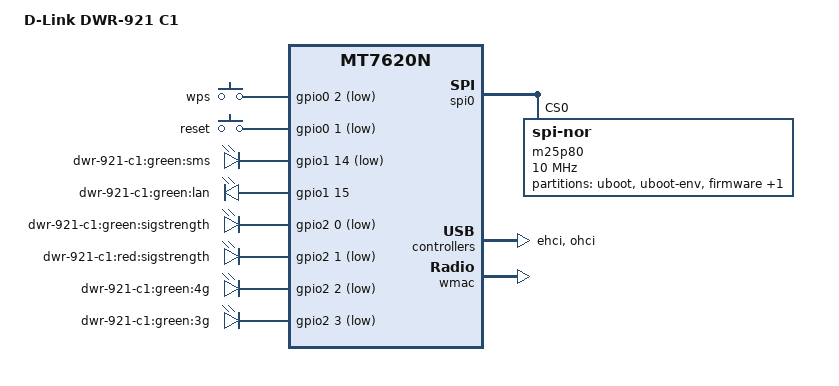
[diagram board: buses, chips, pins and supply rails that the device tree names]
/dts-v1/;

#include "mt7620n.dtsi"

#include <dt-bindings/gpio/gpio.h>
#include <dt-bindings/input/input.h>

/ {
	compatible = "d-link,dwr-921-c1", "ralink,mt7620n-soc";
	model = "D-Link DWR-921 C1";

	gpio-keys-polled {
	compatible = "gpio-keys-polled";
		#address-cells = <1>;
		#size-cells = <0>;
		poll-interval = <20>;

		wps {
			label = "wps";
			gpios = <&gpio0 2 GPIO_ACTIVE_LOW>;
			linux,code = <KEY_WPS_BUTTON>;
		};
		reset {
			label = "reset";
			gpios = <&gpio0 1 GPIO_ACTIVE_LOW>;
			linux,code = <KEY_RESTART>;
		};
	};

	gpio-leds {
		compatible = "gpio-leds";

		sms {
			label = "dwr-921-c1:green:sms";
			gpios = <&gpio1 14 GPIO_ACTIVE_LOW>;
		};
		lan {
			label = "dwr-921-c1:green:lan";
			gpios = <&gpio1 15 GPIO_ACTIVE_HIGH>;
		};
		sstrengthg {
			label = "dwr-921-c1:green:sigstrength";
			gpios = <&gpio2 0 GPIO_ACTIVE_LOW>;
		};
		sstrengthr {
			label = "dwr-921-c1:red:sigstrength";
			gpios = <&gpio2 1 GPIO_ACTIVE_LOW>;
		};
		4g {
			label = "dwr-921-c1:green:4g";
			gpios = <&gpio2 2 GPIO_ACTIVE_LOW>;
		};
		3g {
			label = "dwr-921-c1:green:3g";
			gpios = <&gpio2 3 GPIO_ACTIVE_LOW>;
		};
	};

};

&gpio1 {
	status = "okay";
};

&gpio2 {
	status = "okay";
};

&spi0 {
	status = "okay";

	m25p80@0 {
		#address-cells = <1>;
		#size-cells = <1>;
		compatible = "jedec,spi-nor";
		reg = <0>;
		spi-max-frequency = <10000000>;

		partition@0 {
			label = "uboot";
			reg = <0x0 0x40000>;
			read-only;
		};
		
		partition@40000 {
			label = "uboot-env";
			reg = <0x40000 0x10000>;
			read-only;
		};

		partition@50000 {
			label = "firmware";
			reg = <0x50000 0xfa0000>;
		};

		config: partition@ff0000 {
			label = "config";
			reg = <0xff0000 0x10000>;
			read-only;
		};
	};
};

&ehci {
	status = "okay";
};

&ohci {
	status = "okay";
};

&ethernet {
	mtd-mac-address = <&config 0xe2ac>;
	mediatek,portmap = "llllw";
};

&wmac {
	ralink,mtd-eeprom = <&config 0xe08e>;
};

&pinctrl {
	state_default: pinctrl0 {
		default {
			ralink,group = "i2c", "ephy", "spi refclk", "rgmii1";
			ralink,function = "gpio";
		};
	};
};
